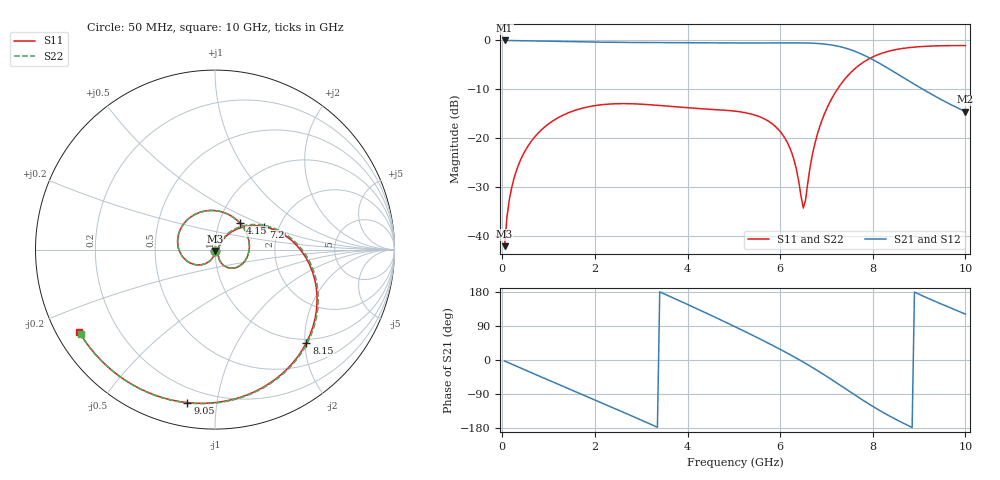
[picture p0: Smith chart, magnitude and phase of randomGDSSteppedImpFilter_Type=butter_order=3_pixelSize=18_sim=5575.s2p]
! freq	dB(S11)	phase(S11)	dB(S12)	phase(S12)
!  dB(S21)	phase(S21)	dB(S22)	phase(S22)
!S-par simulation data
#  GHz  S  DB  R 50
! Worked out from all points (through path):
!   200 points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, 50 MHz to 10 GHz, reference 50 ohm
!   highest |S21| = 0.00 dB at 50 MHz (marker M1); lowest = -14.5 dB at 10 GHz (marker M2)
!   group delay of S21, straight-line fit = 171 ps
!   lowest |S11| = -42.0 dB at 50 MHz (marker M3), VSWR 1.02, Z = 50 - j0.795 ohm
!   |S11| at or under -10 dB: start of sweep to 7.233 GHz
!   |S22| runs from -42.0 to -1.1 dB; largest |S21 - S12| = 0
!   S11 on the Smith chart (normalised r, x): 50 MHz: 1.00, -0.02; 4.15 GHz: 1.25, +0.39; 7.2 GHz: 1.66, +0.47; 8.15 GHz: 0.92, -2.03; 9.05 GHz: 0.12, -0.83; 10 GHz: 0.07, -0.28
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0.05  -41.98 -92.0  -0.00 -2.7  -0.00 -2.7  -41.98 -92.0
0.1  -36.06 -94.7  -0.01 -5.4  -0.01 -5.4  -36.06 -94.7
0.2  -30.14 -100.6  -0.02 -10.7  -0.02 -10.7  -30.14 -100.5
0.5  -22.41 -117.3  -0.06 -26.7  -0.06 -26.7  -22.41 -117.2
1.15  -16.07 -151.9  -0.18 -61.0  -0.18 -61.0  -16.07 -151.7
1.75  -13.77 176.4  -0.30 -92.5  -0.30 -92.5  -13.77 176.8
2.65  -12.90 128.8  -0.40 -139.8  -0.40 -139.8  -12.90 129.6
3.4  -13.28 88.4  -0.44 179.8  -0.44 179.8  -13.28 89.6
4.15  -13.85 47.0  -0.47 138.2  -0.47 138.2  -13.85 48.5
5.05  -14.46 -3.6  -0.52 86.4  -0.52 86.4  -14.46 -2.1
5.55  -15.55 -31.9  -0.52 56.4  -0.52 56.4  -15.55 -30.6
6.05  -19.19 -59.0  -0.50 25.0  -0.50 25.0  -19.20 -58.3
6.3  -24.39 -66.6  -0.50 8.4  -0.50 8.4  -24.45 -66.8
6.5  -34.20 -15.1  -0.51 -5.5  -0.51 -5.5  -35.08 -14.8
6.7  -23.12 50.9  -0.56 -20.0  -0.56 -20.0  -23.20 53.9
6.9  -16.36 45.0  -0.68 -35.1  -0.68 -35.1  -16.38 47.1
7.2  -10.48 25.4  -1.08 -58.8  -1.08 -58.8  -10.48 27.1
7.6  -5.88 -5.0  -2.17 -91.3  -2.17 -91.3  -5.88 -3.5
8.15  -2.77 -45.6  -4.70 -133.3  -4.70 -133.3  -2.77 -44.3
8.35  -2.19 -59.0  -5.80 -147.0  -5.80 -147.0  -2.18 -57.8
9.05  -1.25 -100.2  -9.79 170.7  -9.79 170.7  -1.24 -99.1
10  -1.06 -148.8  -14.52 121.2  -14.52 121.2  -1.06 -147.7
